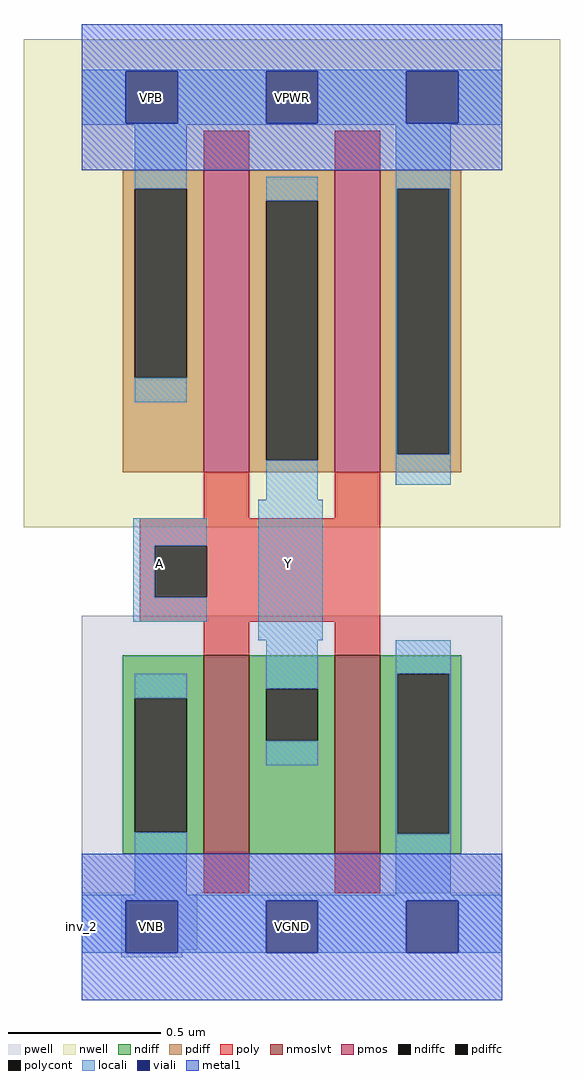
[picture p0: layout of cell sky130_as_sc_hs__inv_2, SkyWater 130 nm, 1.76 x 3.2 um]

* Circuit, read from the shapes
.subckt sky130_as_sc_hs__inv_2 VNB VPB VGND VPWR A Y
XM1 Y A VGND VNB sky130_fd_pr__nfet_01v8_lvt w=0.65 l=0.15 m=2
XM2 Y A VPWR VPB sky130_fd_pr__pfet_01v8 w=0.99 l=0.15 m=2
.ends

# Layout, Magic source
magic
tech sky130A
magscale 1 2
<< nwell >>
rect -38 262 314 582
<< pwell >>
rect 0 22 276 204
rect 26 -15 76 22
rect 26 -20 66 -15
<< pmos >>
rect 80 298 110 496
rect 166 298 196 496
<< nmoslvt >>
rect 80 48 110 178
rect 166 48 196 178
<< ndiff >>
rect 27 150 80 178
rect 27 62 35 150
rect 69 62 80 150
rect 27 48 80 62
rect 110 156 166 178
rect 110 122 121 156
rect 155 122 166 156
rect 110 48 166 122
rect 196 166 249 178
rect 196 61 207 166
rect 241 61 249 166
rect 196 48 249 61
<< pdiff >>
rect 27 484 80 496
rect 27 360 35 484
rect 69 360 80 484
rect 27 298 80 360
rect 110 476 166 496
rect 110 306 121 476
rect 155 306 166 476
rect 110 298 166 306
rect 196 484 249 496
rect 196 310 207 484
rect 241 310 249 484
rect 196 298 249 310
<< ndiffc >>
rect 35 62 69 150
rect 121 122 155 156
rect 207 61 241 166
<< pdiffc >>
rect 35 360 69 484
rect 121 306 155 476
rect 207 310 241 484
<< poly >>
rect 80 496 110 522
rect 166 496 196 522
rect 80 268 110 298
rect 166 268 196 298
rect 38 250 196 268
rect 38 216 48 250
rect 82 216 196 250
rect 38 200 196 216
rect 80 178 110 200
rect 166 178 196 200
rect 80 22 110 48
rect 166 22 196 48
<< polycont >>
rect 48 216 82 250
<< locali >>
rect 0 561 276 562
rect 0 527 29 561
rect 63 527 121 561
rect 155 527 213 561
rect 247 527 276 561
rect 0 526 276 527
rect 35 484 69 526
rect 35 344 69 360
rect 121 476 155 492
rect 121 280 155 306
rect 206 484 242 526
rect 206 310 207 484
rect 241 310 242 484
rect 206 290 242 310
rect 34 250 82 268
rect 34 216 48 250
rect 34 200 82 216
rect 116 188 158 280
rect 35 150 69 166
rect 121 156 155 188
rect 121 106 155 122
rect 206 166 242 188
rect 35 21 69 62
rect 206 61 207 166
rect 241 61 242 166
rect 206 21 242 61
rect 0 17 276 21
rect 0 -17 29 17
rect 63 -17 121 17
rect 155 -17 213 17
rect 247 -17 276 17
<< viali >>
rect 29 527 63 561
rect 121 527 155 561
rect 213 527 247 561
rect 29 -17 63 17
rect 121 -17 155 17
rect 213 -17 247 17
<< metal1 >>
rect 0 561 276 592
rect 0 527 29 561
rect 63 527 121 561
rect 155 527 213 561
rect 247 527 276 561
rect 0 496 276 527
rect 0 17 276 48
rect 0 -17 29 17
rect 63 -17 121 17
rect 155 -17 213 17
rect 247 -17 276 17
rect 0 -48 276 -17
<< labels >>
rlabel comment s 0 0 0 0 4 inv_2
flabel pwell s 29 -17 63 17 0 FreeSans 200 0 0 0 VNB
port 1 nsew ground bidirectional
flabel pwell s 46 0 46 0 0 FreeSans 200 0 0 0 VNB
flabel nwell s 29 527 63 561 0 FreeSans 200 0 0 0 VPB
port 2 nsew power bidirectional
flabel nwell s 46 544 46 544 0 FreeSans 200 0 0 0 VPB
flabel metal1 s 29 527 63 561 0 FreeSans 200 0 0 0 VPWR
port 4 nsew power bidirectional abutment
rlabel metal1 s 0 496 276 592 1 VPWR
port 4 nsew power bidirectional abutment
rlabel metal1 s 0 -48 276 48 1 VGND
port 3 nsew ground bidirectional abutment
flabel metal1 s 29 -17 63 17 0 FreeSans 200 0 0 0 VGND
port 3 nsew ground bidirectional abutment
flabel locali 34 221 68 255 0 FreeSans 200 0 0 0 A
port 5 nsew signal input
flabel locali 51 238 51 238 0 FreeSans 200 0 0 0 A
flabel locali 119 221 153 255 0 FreeSans 200 0 0 0 Y
port 6 nsew signal output
flabel locali 136 238 136 238 0 FreeSans 200 0 0 0 Y
<< properties >>
string FIXED_BBOX 0 0 276 544
string GDS_FILE $PDKPATH/libs.ref/sky130_as_sc_hs/gds/sky130_as_sc_hs__inv_2.gds
string LEFclass CORE
string LEFsite unithd
string LEFsymmetry X Y R90
string MASKHINTS_LVTN 0 -4 276 214
string MASKHINTS_NSDM 0 -38 276 204
string MASKHINTS_PSDM 0 272 276 582
<< end >>
